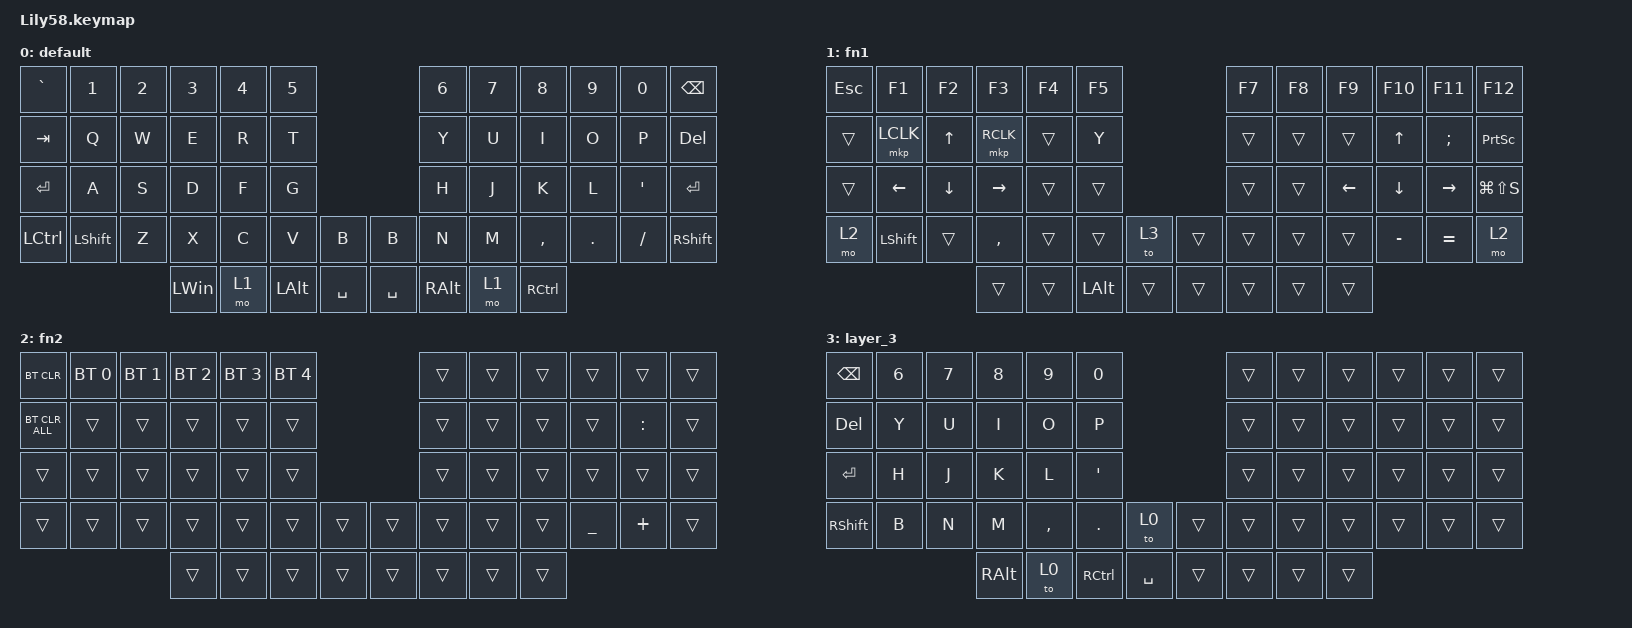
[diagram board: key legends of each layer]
/*
 * Copyright (c) 2020 The ZMK Contributors
 *
 * SPDX-License-Identifier: MIT
 */

#include <dt-bindings/zmk/mouse.h>
#include <behaviors.dtsi>
#include <dt-bindings/zmk/bt.h>
#include <dt-bindings/zmk/keys.h>

/ {
    combos {
        compatible = "zmk,combos";

        three {
            bindings = <&to 3>;
            key-positions = <53 42>;
            timeout-ms = <100>;
            layers = <0>;
        };

        threestick {
            bindings = <&sl 3>;
            key-positions = <53 25>;
            timeout-ms = <100>;
            layers = <0>;
        };

        ralt {
            bindings = <&kp RIGHT_ALT>;
            key-positions = <53 50>;
            timeout-ms = <100>;
            layers = <0>;
        };

        Nkey {
            bindings = <&kp N>;
            key-positions = <53 37>;
            timeout-ms = <100>;
            layers = <0>;
        };

        RctrlM {
            bindings = <&kp RCTRL>;
            key-positions = <53 52>;
            timeout-ms = <100>;
            layers = <0>;
        };

        rbackspace {
            bindings = <&kp BACKSPACE>;
            key-positions = <0 52>;
            timeout-ms = <100>;
        };

        rdel {
            bindings = <&kp DELETE>;
            key-positions = <50 0>;
            timeout-ms = <100>;
        };
    };

    keymap {
        compatible = "zmk,keymap";

        default_layer {
            // ------------------------------------------------------------------------------------------------------------
            // |  ESC  |  1  |  2  |  3   |  4   |  5   |                   |  6   |  7    |  8    |  9   |   0   |   `   |
            // |  TAB  |  Q  |  W  |  E   |  R   |  T   |                   |  Y   |  U    |  I    |  O   |   P   |   -   |
            // |  CTRL |  A  |  S  |  D   |  F   |  G   |                   |  H   |  J    |  K    |  L   |   ;   |   '   |
            // | SHIFT |  Z  |  X  |  C   |  V   |  B   |   "["  |  |  "]"  |  N   |  M    |  ,    |  .   |   /   | SHIFT |
            //                     | ALT  | GUI  | LOWER|  SPACE |  | ENTER | RAISE| BSPC  | GUI   |

            display-name = "default";
            bindings = <
&kp GRAVE  &kp N1          &kp N2  &kp N3        &kp N4  &kp N5                            &kp N6         &kp N7  &kp N8     &kp N9   &kp N0    &kp BACKSPACE
&kp TAB    &kp Q           &kp W   &kp E         &kp R   &kp T                             &kp Y          &kp U   &kp I      &kp O    &kp P     &kp DELETE
&kp ENTER  &kp A           &kp S   &kp D         &kp F   &kp G                             &kp H          &kp J   &kp K      &kp L    &kp SQT   &kp ENTER
&kp LCTRL  &kp LEFT_SHIFT  &kp Z   &kp X         &kp C   &kp V     &kp B        &kp B      &kp N          &kp M   &kp COMMA  &kp DOT  &kp FSLH  &kp RSHFT
                                   &kp LEFT_WIN  &mo 1   &kp LALT  &kp SPACE    &kp SPACE  &kp RIGHT_ALT  &mo 1   &kp RCTRL
            >;
        };

        fn1 {
            // ------------------------------------------------------------------------------------------------------------
            // | BTCLR | BT1 | BT2 |  BT3 |  BT4 |  BT5 |                   |      |       |       |      |       |       |
            // |  F1   |  F2 |  F3 |  F4  |  F5  |  F6  |                   |  F7  |  F8   |  F9   |  F10 |  F11  |  F12  |
            // |   `   |  !  |  @  |  #   |  $   |  %   |                   |  ^   |  &    |  *    |  (   |   )   |   ~   |
            // |       |     |     |      |      |      |        |  |       |      |  _    |  +    |  {   |   }   |  "|"  |
            //                     |      |      |      |        |  |       |      |       |       |

            display-name = "fn1";
            bindings = <
&kp ESCAPE  &kp F1          &kp F2          &kp F3     &kp F4  &kp F5                          &kp F7  &kp F8  &kp F9          &kp F10       &kp F11          &kp F12
&trans      &mkp LCLK       &kp UP_ARROW    &mkp RCLK  &trans  &kp Y                           &trans  &trans  &trans          &kp UP_ARROW  &kp SEMI         &kp PRINTSCREEN
&trans      &kp LEFT_ARROW  &kp DOWN_ARROW  &kp RIGHT  &trans  &trans                          &trans  &trans  &kp LEFT_ARROW  &kp DOWN      &kp RIGHT_ARROW  &kp LG(LS(S))
&mo 2       &kp LEFT_SHIFT  &trans          &kp COMMA  &trans  &trans        &to 3     &trans  &trans  &trans  &trans          &kp MINUS     &kp EQUAL        &mo 2
                                            &trans     &trans  &kp LEFT_ALT  &trans    &trans  &trans  &trans  &trans
            >;
        };

        fn2 {
            // ------------------------------------------------------------------------------------------------------------
            // |       |     |     |      |      |      |                   |      |       |       |      |       |       |
            // |   `   |  1  |  2  |  3   |  4   |  5   |                   |  6   |   7   |   8   |  9   |   0   |       |
            // |   F1  |  F2 |  F3 |  F4  |  F5  |  F6  |                   |      |   <-  |   v   |  ^   |  ->   |       |
            // |   F7  |  F8 |  F9 |  F10 |  F11 |  F12 |        |  |       |  +   |   -   |   =   |  [   |   ]   |   \   |
            //                     |      |      |      |        |  |       |      |       |       |

            display-name = "fn2";
            bindings = <
&bt BT_CLR      &bt BT_SEL 0  &bt BT_SEL 1  &bt BT_SEL 2  &bt BT_SEL 3  &bt BT_SEL 4                    &trans  &trans  &trans  &trans     &trans     &trans
&bt BT_CLR_ALL  &trans        &trans        &trans        &trans        &trans                          &trans  &trans  &trans  &trans     &kp COLON  &trans
&trans          &trans        &trans        &trans        &trans        &trans                          &trans  &trans  &trans  &trans     &trans     &trans
&trans          &trans        &trans        &trans        &trans        &trans        &trans    &trans  &trans  &trans  &trans  &kp UNDER  &kp PLUS   &trans
                                            &trans        &trans        &trans        &trans    &trans  &trans  &trans  &trans
            >;
        };

        layer_3 {
            bindings = <
&kp BACKSPACE    &kp NUMBER_6  &kp NUMBER_7  &kp N8         &kp N9     &kp N0                               &trans  &trans  &trans  &trans  &trans  &trans
&kp DELETE       &kp Y         &kp U         &kp I          &kp O      &kp P                                &trans  &trans  &trans  &trans  &trans  &trans
&kp ENTER        &kp H         &kp J         &kp K          &kp L      &kp APOSTROPHE                       &trans  &trans  &trans  &trans  &trans  &trans
&kp RIGHT_SHIFT  &kp B         &kp N         &kp M          &kp COMMA  &kp PERIOD      &to 0        &trans  &trans  &trans  &trans  &trans  &trans  &trans
                                             &kp RIGHT_ALT  &to 0      &kp RCTRL       &kp SPACE    &trans  &trans  &trans  &trans
            >;
        };
    };
};
